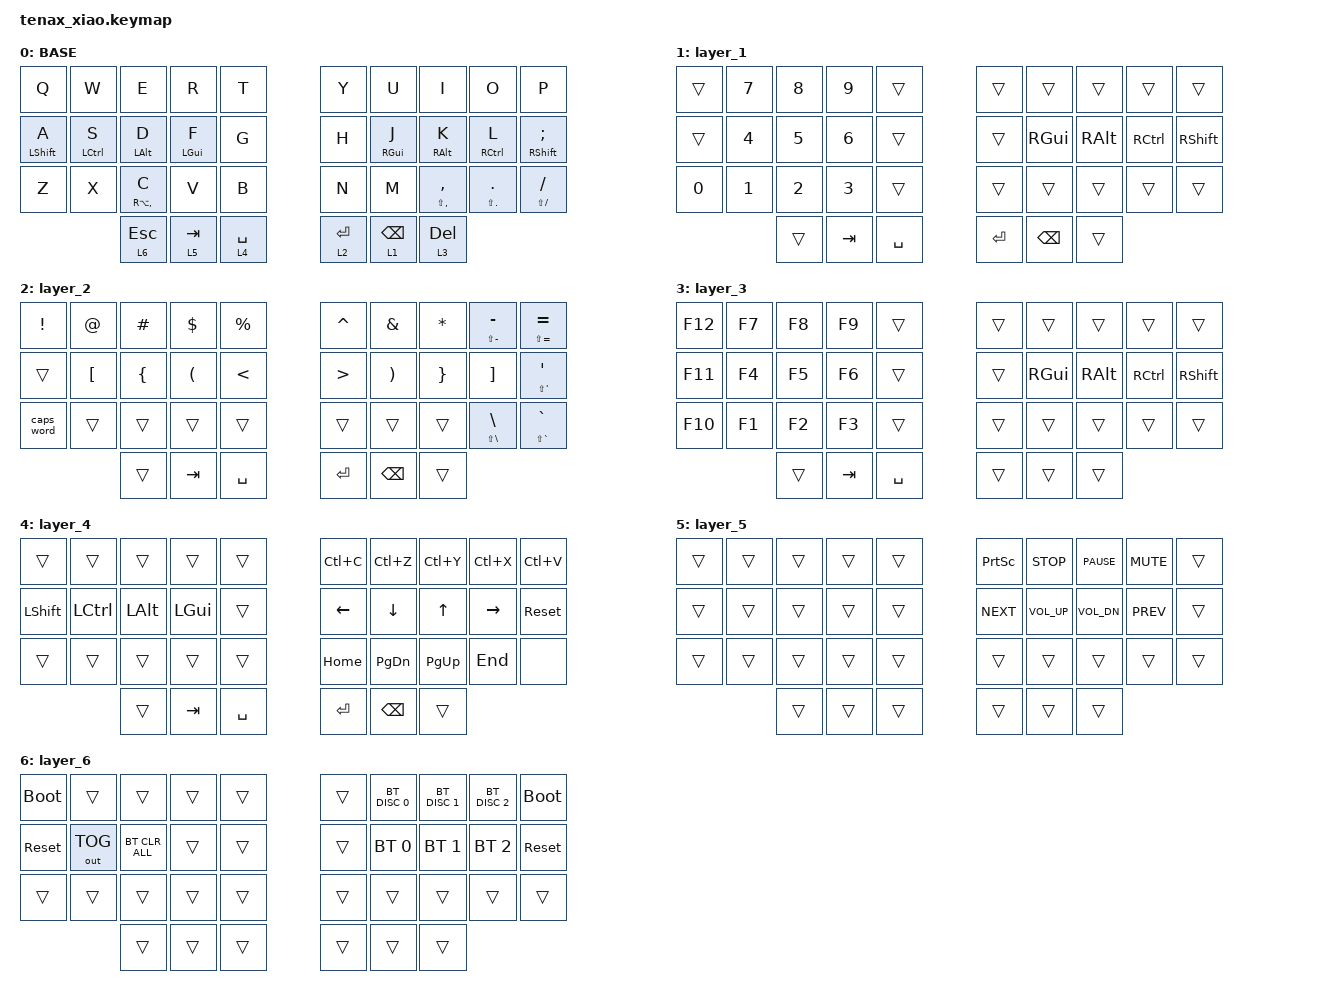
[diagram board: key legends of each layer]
#include "abnt2.h"
#include <behaviors.dtsi>
#include <dt-bindings/zmk/bt.h>
#include <dt-bindings/zmk/keys.h>
#include <dt-bindings/zmk/outputs.h>

#define BASE 0
#define NAV  1
#define SYM  2
#define ADJ  3

&mt {
    quick-tap-ms = <200>;
    global-quick-tap;
    flavor = "tap-preferred";
    tapping-term-ms = <170>;
};

/ {
    combos { compatible = "zmk,combos"; };

    keymap {
        compatible = "zmk,keymap";

        // ▄▄▄▄▄▄▄▄▄▄▄▄▄▄▄▄▄▄▄▄▄▄▄▄▄▄▄▄▄▄▄▄▄▄▄▄▄▄▄▄▄▄▄▄▄▄▄▄▄▄▄▄▄▄▄▄▄▄▄▄▄▄▄▄▄▄▄▄▄▄▄▄▄▄▄▄▄▄▄▄▄▄▄▄▄▄▄▄▄▄▄▄▄▄▄▄▄▄▄▄▄▄▄▄▄▄▄▄▄▄▄▄▄▄▄▄▄▄▄▄▄▄▄▄▄▄▄▄▄▄▄▄▄▄▄▄▄▄▄▄▄▄▄▄▄▄▄▄▄

        base_layer {
            // ┏━━━━━━━━━━━━━━━━━━━━━━━━━━━━━━━━━━━━━━━┓

            label = "BASE";

            // ┗━━━━━━━━━━━━━━━━━━━━━━━━━━━━━━━━━━━━━━━┛
            //             ┏━━━━━━━━━━━┳━━━━━━━━━━━┳━━━━━━━━━━━┳━━━━━━━━━━━┳━━━━━━━━━━━┓   ┏━━━━━━━━━━━┳━━━━━━━━━━━┳━━━━━━━━━━━┳━━━━━━━━━━━┳━━━━━━━━━━━┓
            //             ┃     Q     ┃     W     ┃     F     ┃     P     ┃     G     ┃   ┃     J     ┃     L     ┃     U     ┃     Y     ┃     ;     ┃
            //             ┣━━━━━━━━━━━╋━━━━━━━━━━━╋━━━━━━━━━━━╋━━━━━━━━━━━╋━━━━━━━━━━━┫   ┣━━━━━━━━━━━╋━━━━━━━━━━━╋━━━━━━━━━━━╋━━━━━━━━━━━╋━━━━━━━━━━━┫
            //             ┃     A     ┃     R     ┃     S     ┃     T     ┃     D     ┃   ┃     H     ┃     N     ┃     E     ┃     I     ┃     O     ┃
            // ┏━━━━━━━━━━━╋━━━━━━━━━━━╋━━━━━━━━━━━╋━━━━━━━━━━━╋━━━━━━━━━━━╋━━━━━━━━━━━┫   ┣━━━━━━━━━━━╋━━━━━━━━━━━╋━━━━━━━━━━━╋━━━━━━━━━━━╋━━━━━━━━━━━╋━━━━━━━━━━━┓
            // ┃           ┃     Z     ┃     X     ┃     C     ┃     V     ┃     B     ┃   ┃     K     ┃     M     ┃     ,     ┃     .     ┃     /     ┃           ┃
            // ┗━━━━━━━━━━━┻━━━━━━━━━━━┻━━━━━━━━━━━╋━━━━━━━━━━━╋━━━━━━━━━━━╋━━━━━━━━━━━┫   ┣━━━━━━━━━━━╋━━━━━━━━━━━╋━━━━━━━━━━━╋━━━━━━━━━━━┻━━━━━━━━━━━┻━━━━━━━━━━━┛
            //                                     ┃           ┃    TAB    ┃    SPC    ┃   ┃   ENTER   ┃   BSPC    ┃           ┃
            //                                     ┗━━━━━━━━━━━┻━━━━━━━━━━━┻━━━━━━━━━━━┛   ┗━━━━━━━━━━━┻━━━━━━━━━━━┻━━━━━━━━━━━┛

            bindings = <
&kp Q             &kp W               &kp E            &kp R           &kp T      &kp Y        &kp U            &kp I                &kp O                  &kp P
&mt LEFT_SHIFT A  &mt LEFT_CONTROL S  &mt LEFT_ALT D   &mt LEFT_GUI F  &kp G      &kp H        &mt RIGHT_GUI J  &mt RIGHT_ALT K      &mt RIGHT_CONTROL L    &mt RIGHT_SHIFT SEMICOLON
&kp Z             &kp X               &mt RA(COMMA) C  &kp V           &kp B      &kp N        &kp M            &mt LS(COMMA) COMMA  &mt LS(PERIOD) PERIOD  &mt LS(SLASH) SLASH
                                                       &lt 6 ESC       &lt 5 TAB  &lt 4 SPACE  &lt 2 ENTER      &lt 1 BACKSPACE      &lt 3 DELETE
            >;
        };

        layer_1 {
            bindings = <
&trans  &kp N7  &kp N8  &kp N9  &trans   &trans     &trans     &trans         &trans     &trans
&trans  &kp N4  &kp N5  &kp N6  &trans   &trans     &kp RGUI   &kp RALT       &kp RCTRL  &kp RSHFT
&kp N0  &kp N1  &kp N2  &kp N3  &trans   &trans     &trans     &trans         &trans     &trans
                        &trans  &kp TAB  &kp SPACE  &kp ENTER  &kp BACKSPACE  &trans
            >;
        };

        layer_2 {
            bindings = <
&kp EXCLAMATION  &kp AT_SIGN       &kp HASH        &kp DOLLAR            &kp PERCENT    &kp CARET         &kp AMPERSAND          &kp ASTERISK     &mt LS(MINUS) MINUS          &mt LS(EQUAL) EQUAL
&trans           &kp LEFT_BRACKET  &kp LEFT_BRACE  &kp LEFT_PARENTHESIS  &kp LESS_THAN  &kp GREATER_THAN  &kp RIGHT_PARENTHESIS  &kp RIGHT_BRACE  &kp RIGHT_BRACKET            &mt LS(SQT) SQT
&caps_word       &trans            &trans          &trans                &trans         &trans            &trans                 &trans           &mt LS(BACKSLASH) BACKSLASH  &mt LS(GRAVE) GRAVE
                                                   &trans                &kp TAB        &kp SPACE         &kp RET                &kp BACKSPACE    &trans
            >;
        };

        layer_3 {
            bindings = <
&kp F12  &kp F7  &kp F8  &kp F9  &trans   &trans     &trans    &trans    &trans     &trans
&kp F11  &kp F4  &kp F5  &kp F6  &trans   &trans     &kp RGUI  &kp RALT  &kp RCTRL  &kp RSHFT
&kp F10  &kp F1  &kp F2  &kp F3  &trans   &trans     &trans    &trans    &trans     &trans
                         &trans  &kp TAB  &kp SPACE  &trans    &trans    &trans
            >;
        };

        layer_4 {
            bindings = <
&trans          &trans            &trans        &trans        &trans   &kp LC(C)       &kp LC(Z)       &kp LC(Y)      &kp LC(X)        &kp LC(V)
&kp LEFT_SHIFT  &kp LEFT_CONTROL  &kp LEFT_ALT  &kp LEFT_GUI  &trans   &kp LEFT_ARROW  &kp DOWN_ARROW  &kp UP_ARROW   &kp RIGHT_ARROW  &sys_reset
&trans          &trans            &trans        &trans        &trans   &kp HOME        &kp PAGE_DOWN   &kp PG_UP      &kp END          &none
                                                &trans        &kp TAB  &kp SPACE       &kp RET         &kp BACKSPACE  &trans
            >;
        };

        layer_5 {
            bindings = <
&trans  &trans  &trans  &trans  &trans  &kp PRINTSCREEN  &kp K_STOP       &kp C_PAUSE   &kp K_MUTE  &trans
&trans  &trans  &trans  &trans  &trans  &kp K_NEXT       &kp K_VOLUME_UP  &kp K_VOL_DN  &kp K_PREV  &trans
&trans  &trans  &trans  &trans  &trans  &trans           &trans           &trans        &trans      &trans
                        &trans  &trans  &trans           &trans           &trans        &trans
            >;
        };

        layer_6 {
            bindings = <
&bootloader  &trans        &trans          &trans  &trans  &trans  &bt BT_DISC 0  &bt BT_DISC 1  &bt BT_DISC 2  &bootloader
&sys_reset   &out OUT_TOG  &bt BT_CLR_ALL  &trans  &trans  &trans  &bt BT_SEL 0   &bt BT_SEL 1   &bt BT_SEL 2   &sys_reset
&trans       &trans        &trans          &trans  &trans  &trans  &trans         &trans         &trans         &trans
                                           &trans  &trans  &trans  &trans         &trans         &trans
            >;
        };
    };
};
